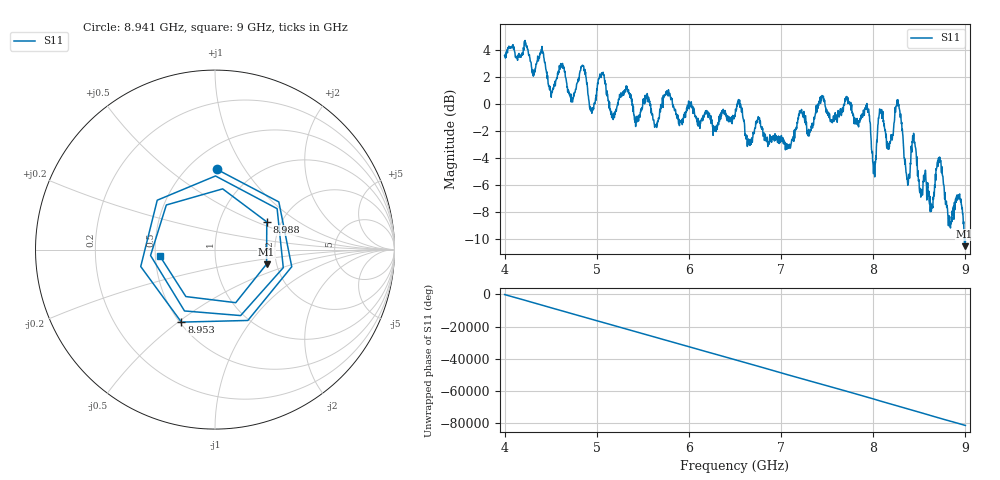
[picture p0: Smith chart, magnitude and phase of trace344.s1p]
! Created with skrf 1.8.0 (http://scikit-rf.org).
# Hz S RI R 50.0
!freq ReS11 ImS11
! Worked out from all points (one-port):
!   1601 points, 4 GHz to 9 GHz, reference 50 ohm
!   lowest |S11| = -10.5 dB at 8.991 GHz (marker M1), VSWR 1.85, Z = 88.6 - j15.7 ohm
!   |S11| at or under -10 dB: 8.989117 GHz to 8.993809 GHz (4.693 MHz wide, 0.0522 % of centre); 8.994385 GHz to end of sweep
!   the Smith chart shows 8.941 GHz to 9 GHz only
!   S11 on the Smith chart (normalised r, x): 8.941 GHz: 0.68, +0.76; 8.953 GHz: 0.51, -0.51; 8.988 GHz: 1.68, +0.58; 9 GHz: 0.53, -0.04
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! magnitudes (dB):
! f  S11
! 4 GHz  3.6
! 4.506 GHz  0.5
! 4.625 GHz  2.7
! 4.728 GHz  0.5
! 4.853 GHz  2.8
! 4.944 GHz  -0.5
! 5.053 GHz  2.3
! 5.166 GHz  -0.8
! 5.25 GHz  0.6
! 5.875 GHz  -1.1
! 6.5 GHz  -0.9
! 7.125 GHz  -2.6
! 7.75 GHz  -0.1
! 7.938 GHz  -0.5
! 8.006 GHz  -4.5
! 8.081 GHz  -0.4
! 8.169 GHz  -3.3
! 8.272 GHz  -0.1
! 8.375 GHz  -6.0
! 8.438 GHz  -2.2
! 8.625 GHz  -7.3
! 8.709 GHz  -4.0
! 8.828 GHz  -8.9
! 8.941 GHz  -7.0
! 8.953 GHz  -7.0
! 8.988 GHz  -9.7
! 8.991 GHz  -10.5
! 9 GHz  -10.2
